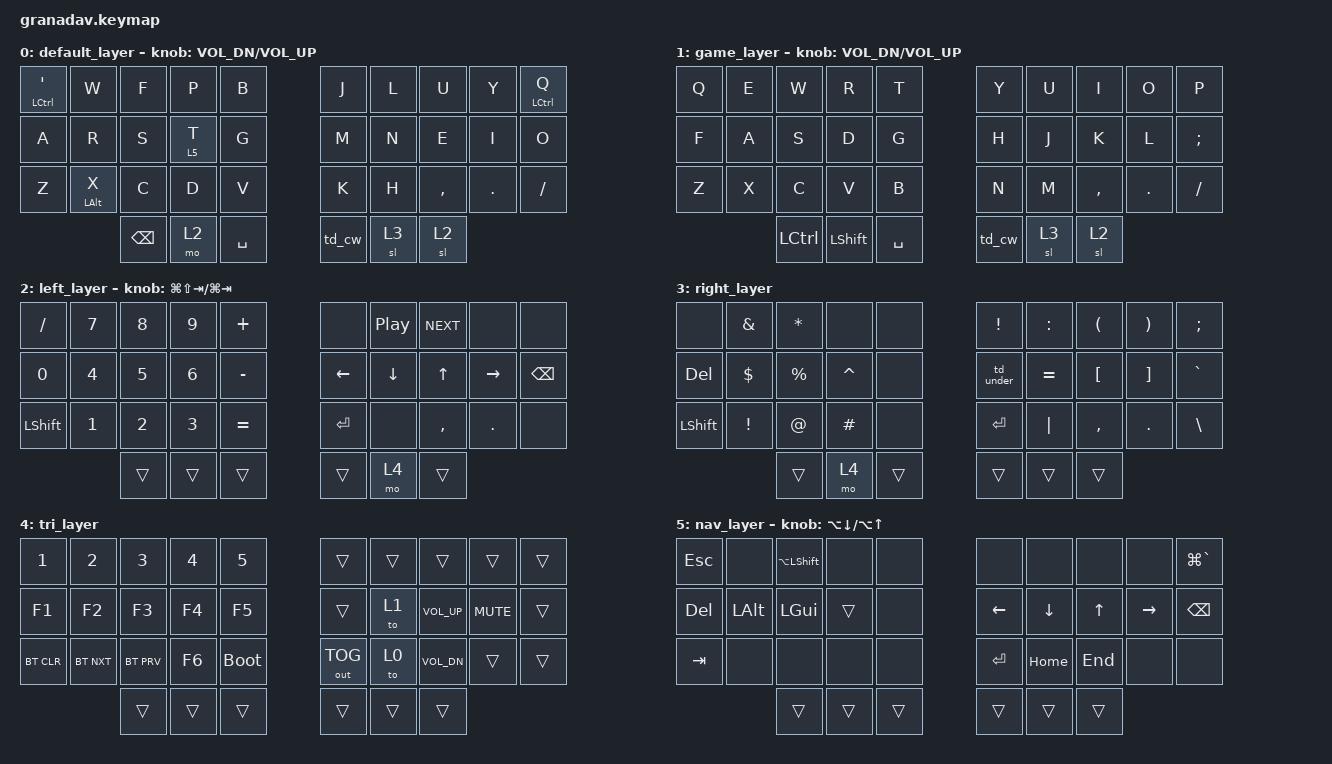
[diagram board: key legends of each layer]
/*

 * Copyright (c) 2020 The ZMK Contributors
 *
 * SPDX-License-Identifier: MIT
 */

#include <behaviors.dtsi>
#include <dt-bindings/zmk/keys.h>
#include <dt-bindings/zmk/bt.h>
#include <dt-bindings/zmk/outputs.h>

&sk {
		quick-release;
};

&caps_word {
    continue-list = <UNDERSCORE MINUS BKSP>;
};

/ {

	combos {
		compatible = "zmk,combos";

		combo_esc {
			timeout-ms = <50>;
			key-positions = <1 2>;
			bindings = <&kp ESC>;
		};

		combo_bspc {
			timeout-ms = <50>;
			key-positions = <7 8>;
			bindings = <&kp BKSP>;
		};

		combo_shft {
			timeout-ms = <50>;
			key-positions = <21 22>;
			bindings = <&kp LSHFT>;
		};

		combo_tab {
			timeout-ms = <50>;
			key-positions = <27 28>;
			bindings = <&kp TAB>;
		};
	};

    behaviors {
        hm: homerow_mods {
            compatible = "zmk,behavior-hold-tap";
            label = "HOMEROW_MODS";
            #binding-cells = <2>;
            tapping-term-ms = <175>;
            quick-tap-ms = <0>;
            flavor = "tap-preferred";
            bindings = <&kp>, <&kp>;
        };
		td_cw: tap_dance_caps_word {
			compatible = "zmk,behavior-tap-dance";
			label = "TAP_DANCE_CAPS_WORD";
			#binding-cells = <0>;
			tapping-term-ms = <175>;
			bindings = <&sk LSHFT>, <&caps_word>;
		};
		td_under: tap_dance_underscore {
			compatible = "zmk,behavior-tap-dance";
			label = "TAP_DANCE_UNDERSCORE";
			#binding-cells = <0>;
			tapping-term-ms = <175>;
			bindings = <&kp MINUS>, <&kp UNDER>;
		};
    };

        keymap {
                compatible = "zmk,keymap";
                
       		default_layer {
		bindings = <
		&hm LCTRL SQT &kp W &kp F &kp P &kp B 					&kp J &kp L  &kp U    &kp Y   &hm LCTRL Q
		&kp A &kp R &kp S &lt 5 T &kp G 			       	    &kp M &kp N  &kp E    &kp I   &kp O
		&kp Z &hm LALT X &kp C &kp D &kp V				        &kp K &kp H  &kp CMMA &kp DOT &kp FSLH
          			     &kp BKSP &mo 2 &kp SPC  		&td_cw &sl 3 &sl 2
		>;
        sensor-bindings = <&inc_dec_kp C_VOL_DN C_VOL_UP>;
		};

			game_layer {
		bindings = <
		&kp Q     &kp E     &kp W     &kp R     &kp T 			&kp Y &kp U  &kp I    &kp O   &kp P
		&kp F     &kp A     &kp S     &kp D     &kp G 			&kp H &kp J  &kp K    &kp L   &kp SEMI
		&kp Z     &kp X     &kp C     &kp V     &kp B			&kp N &kp M  &kp CMMA &kp DOT &kp FSLH
        		  			&kp LCTRL &kp LSHFT &kp SPC  		&td_cw &sl 3 &sl 2
		>;
        sensor-bindings = <&inc_dec_kp C_VOL_DN C_VOL_UP>;
		};

       		left_layer {
		bindings = <
		&kp FSLH  &kp N7   &kp N8  &kp N9  &kp PLUS		        &none    &kp C_PP  &kp C_NEXT &none     &none 
		&kp N0    &kp N4   &kp N5  &kp N6  &kp MINUS 		    &kp LEFT &kp DOWN  &kp UP     &kp RIGHT &kp BKSP 
		&kp LSHFT &kp N1   &kp N2  &kp N3  &kp EQUAL 	        &kp RET  &none     &kp CMMA   &kp DOT   &none 
					            &trans &trans &trans 			&trans &mo 4 &trans
		>;
		sensor-bindings = <&inc_dec_kp LG(LS(TAB)) LG(TAB)>;
		};
		
			right_layer {
		bindings = <
		&none     &kp AMPS  &kp STAR  &none     &none    		&kp EXCL  &kp COLON &kp LPAR &kp RPAR &kp SEMI 
		&kp DEL   &kp DLLR  &kp PRCNT &kp CARET &none			&td_under &kp EQUAL &kp LBKT &kp RBKT &kp GRAVE
		&kp LSHFT &kp EXCL  &kp AT    &kp HASH  &none   		&kp RET   &kp PIPE  &kp CMMA &kp DOT  &kp BSLH
					               &trans  &mo 4 &trans  	&trans  &trans &trans
		>;
		};	
		
			tri_layer {
		bindings = <
		&kp NUM_1  &kp NUM_2  &kp NUM_3  &kp NUM_4 &kp NUM_5 			&trans &trans   &trans   &trans  &trans
		&kp F1     &kp F2     &kp F3     &kp F4    &kp F5  				&trans &to 1  &kp K_VOL_UP &kp K_MUTE &trans 
		&bt BT_CLR &bt BT_NXT &bt BT_PRV &kp F6    &bootloader   		&out OUT_TOG &to 0  &kp K_VOL_DN  &trans &trans   
					                 &trans &trans &trans  			&trans &trans &trans
		>;
		};

        	nav_layer {
		bindings = <
		&kp ESC  &none    &kp LA(LSHFT)   &none  &none  			    &none    &none     &none     &none     &kp LG(GRAVE)
		&kp DEL  &kp LALT &kp LGUI &trans &none  				&kp LEFT &kp DOWN  &kp UP    &kp RIGHT &kp BKSP 
		&kp TAB  &none    &none    &none  &none   				&kp RET  &kp HOME  &kp END   &none     &none   
					               &trans &trans &trans  		&trans &trans &trans
		>;
		sensor-bindings = <&inc_dec_kp LA(DOWN) LA(UP)>;
		};	
	};
};
